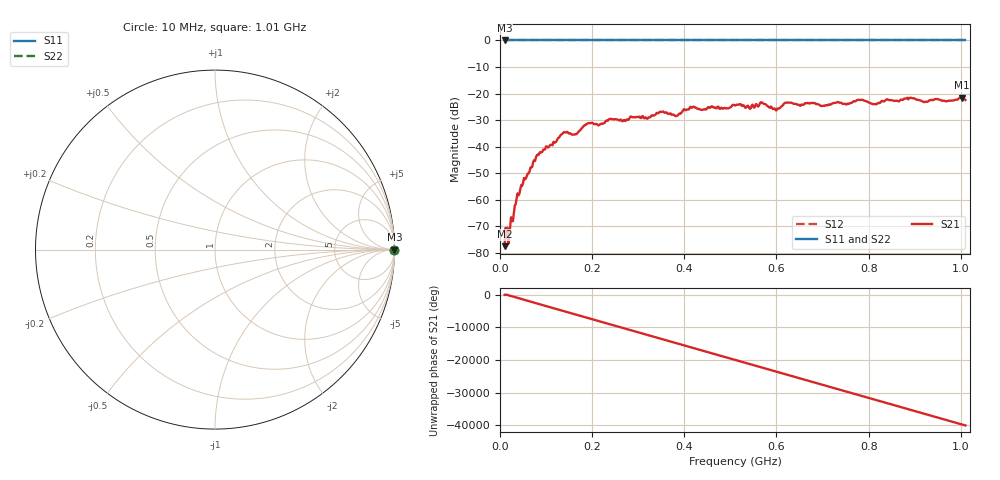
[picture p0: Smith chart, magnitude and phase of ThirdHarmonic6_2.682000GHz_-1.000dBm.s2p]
! 8/17/2025 6:18:42 AM
! C:\ANRITSUVNA\TEMP\TEMP.S2P
! CHANNEL.1
! TR.MEASUREMENT
! RAW.DATA
! RF.CORRECTION.OFF
! AVERAGING.OFF
! IF.BANDWIDTH: 5KHZ
! SWEEPTYPE:  FREQ.SWEEP(Linear)
! Reference Plane Port Info
! PORT:  PORT1  PORT2
! DISTANCE:  0  m  0  m
! TIME:  0  s  0  s
! PHASE.OFFSET:  0  deg.  0  deg.
! LOSS:  0  dB  0  dB
! REF.LOSS:  0  dB  0  dB
! REF.FREQ:  0  Hz  0  Hz
! Power Info
! POWER:  -20  dBm  -20  dBm
! EFF.POWER:  -20  dBm  -20  dBm
! SOURCE.ATTEN:  0  dB  0  dB
! TEST.ATTEN:  0  dB  0  dB
# GHZ S RI R 50.0
! FREQ.GHZ  S11RE  S11IM  S21RE  S21IM  S12RE  S12IM  S22RE  S22IM
!; PortSelection: Port_12
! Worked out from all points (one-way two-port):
!   501 points, 10 MHz to 1.01 GHz, reference 50 ohm
!   highest |S21| = -21.48 dB at 1.002 GHz (marker M1); lowest = -77.4 dB at 10 MHz (marker M2)
!   lowest |S11| = 0.0 dB at 10 MHz (marker M3)
!   |S11| at or under -10 dB: nowhere
!   |S22| runs from 0.0 to 0.0 dB; largest |S21 - S12| = 1.1
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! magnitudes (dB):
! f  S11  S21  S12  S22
! 10 MHz  0.0  -77.4  0.0  0.0
! 22 MHz  0.0  -70.3  0.0  0.0
! 42 MHz  0.0  -57.7  0.0  0.0
! 82 MHz  0.0  -42.9  0.0  0.0
! 136 MHz  0.0  -35.0  0.0  0.0
! 162 MHz  0.0  -35.5  0.0  0.0
! 178 MHz  0.0  -32.9  0.0  0.0
! 192 MHz  0.0  -31.1  0.0  0.0
! 344 MHz  0.0  -27.4  0.0  0.0
! 382 MHz  0.0  -28.4  0.0  0.0
! 416 MHz  0.0  -25.3  0.0  0.0
! 510 MHz  0.0  -24.5  0.0  0.0
! 568 MHz  0.0  -23.3  0.0  0.0
! 596 MHz  0.0  -25.6  0.0  0.0
! 622 MHz  0.0  -23.4  0.0  0.0
! 678 MHz  0.0  -23.5  0.0  0.0
! 700 MHz  0.0  -24.6  0.0  0.0
! 782 MHz  0.0  -22.4  0.0  0.0
! 814 MHz  0.0  -23.9  0.0  0.0
! 844 MHz  0.0  -22.4  0.0  0.0
! 1.002 GHz  0.0  -21.5  0.0  0.0
! 1.01 GHz  0.0  -22.4  0.0  0.0
